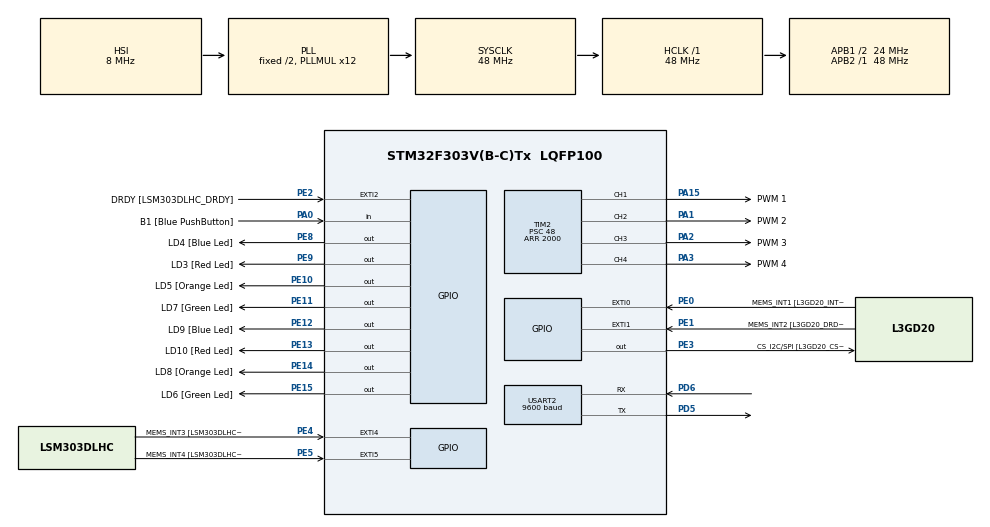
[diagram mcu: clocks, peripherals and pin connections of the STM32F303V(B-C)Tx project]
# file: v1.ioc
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Mcu.Family=STM32F3
Mcu.Name=STM32F303V(B-C)Tx
Mcu.Package=LQFP100
NVIC.PriorityGroup=NVIC_PRIORITYGROUP_0
NVIC.USART2_IRQn=true\:0\:0\:false
PA0.GPIO_Label=B1 [Blue PushButton]
PA0.GPIO_Mode=GPIO_MODE_INPUT
PA0.GPIO_PuPd=GPIO_PULLDOWN
PA0.Signal=GPIO_Input
PA1.GPIO_Label=PWM 2
PA1.GPIO_ModeDefaultPP=GPIO_MODE_AF_PP
PA1.GPIO_PuPd=GPIO_NOPULL
PA1.GPIO_Speed=GPIO_SPEED_HIGH
PA1.Signal=S_TIM2_CH2
PA11.GPIO_Label=DM
PA11.GPIO_Mode=GPIO_MODE_AF_PP
PA11.GPIO_PuPd=GPIO_NOPULL
PA11.GPIO_Speed=GPIO_SPEED_HIGH
PA11.Signal=USB_DM
PA12.GPIO_Label=DP
PA12.GPIO_Mode=GPIO_MODE_AF_PP
PA12.GPIO_PuPd=GPIO_NOPULL
PA12.GPIO_Speed=GPIO_SPEED_HIGH
PA12.Signal=USB_DP
PA13.GPIO_Label=SWDIO
PA13.Mode=Trace-Asynchronous_SW
PA13.Signal=SYS_JTMS-SWDIO
PA14.GPIO_Label=SWCLK
PA14.Mode=Trace-Asynchronous_SW
PA14.Signal=SYS_JTCK-SWCLK
PA15.GPIO_Label=PWM 1
PA15.GPIO_ModeDefaultPP=GPIO_MODE_AF_PP
PA15.GPIO_PuPd=GPIO_NOPULL
PA15.GPIO_Speed=GPIO_SPEED_HIGH
PA15.Signal=S_TIM2_CH1_ETR
PA2.GPIO_Label=PWM 3
PA2.GPIO_ModeDefaultPP=GPIO_MODE_AF_PP
PA2.GPIO_PuPd=GPIO_NOPULL
PA2.GPIO_Speed=GPIO_SPEED_HIGH
PA2.Signal=S_TIM2_CH3
PA3.GPIO_Label=PWM 4
PA3.GPIO_ModeDefaultPP=GPIO_MODE_AF_PP
PA3.GPIO_PuPd=GPIO_NOPULL
PA3.GPIO_Speed=GPIO_SPEED_HIGH
PA3.Signal=S_TIM2_CH4
PA5.GPIO_Label=SPI1_SCK [L3GD20_SCL/SPC]
PA5.GPIO_Mode=GPIO_MODE_AF_PP
PA5.GPIO_PuPd=GPIO_NOPULL
PA5.GPIO_Speed=GPIO_SPEED_LOW
PA5.Signal=SPI1_SCK
PA6.GPIO_Label=SPI1_MISO [L3GD20_SA0/SDO]
PA6.GPIO_Mode=GPIO_MODE_AF_PP
PA6.GPIO_PuPd=GPIO_NOPULL
PA6.GPIO_Speed=GPIO_SPEED_LOW
PA6.Signal=SPI1_MISO
PA7.GPIO_Label=SPI1_MISO [L3GD20_SDA/SDI/SDO]
PA7.GPIO_Mode=GPIO_MODE_AF_PP
PA7.GPIO_PuPd=GPIO_NOPULL
PA7.GPIO_Speed=GPIO_SPEED_LOW
PA7.Signal=SPI1_MOSI
PB3.GPIO_Label=SWO
PB3.Mode=Trace-Asynchronous_SW
PB3.Signal=SYS_JTDO-TRACESWO
PB6.GPIO_FM6=__NULL
PB6.GPIO_Label=I2C1_SCL [LSM303DLHC_SCL]
PB6.GPIO_Mode=GPIO_MODE_AF_OD
PB6.GPIO_PuPd=GPIO_NOPULL
PB6.GPIO_PuPdOD=GPIO_PULLUP
PB6.GPIO_Speed=GPIO_SPEED_LOW
PB6.Signal=I2C1_SCL
PB7.GPIO_FM7=__NULL
PB7.GPIO_Label=I2C1_SDA [LSM303DLHC_SDA]
PB7.GPIO_Mode=GPIO_MODE_AF_OD
PB7.GPIO_PuPd=GPIO_NOPULL
PB7.GPIO_PuPdOD=GPIO_PULLUP
PB7.GPIO_Speed=GPIO_SPEED_LOW
PB7.Signal=I2C1_SDA
PC14-OSC32_IN.GPIO_Label=OSC32_IN
PC14-OSC32_IN.Signal=RCC_OSC32_IN
PC15-OSC32_OUT.GPIO_Label=OSC32_OUT
PC15-OSC32_OUT.Signal=RCC_OSC32_OUT
PD5.Mode=Asynchronous
PD5.Signal=USART2_TX
PD6.Mode=Asynchronous
PD6.Signal=USART2_RX
PE0.GPIO_Label=MEMS_INT1 [L3GD20_INT1]
PE0.GPIO_ModeDefaultEXTI=GPIO_MODE_EVT_RISING
PE0.GPIO_PuPd=GPIO_NOPULL
PE0.Signal=GPXTI0
PE1.GPIO_Label=MEMS_INT2 [L3GD20_DRDY/INT2]
PE1.GPIO_ModeDefaultEXTI=GPIO_MODE_EVT_RISING
PE1.GPIO_PuPd=GPIO_NOPULL
PE1.Signal=GPXTI1
PE10.GPIO_Label=LD5 [Orange Led]
PE10.GPIO_ModeDefaultOutputPP=GPIO_MODE_OUTPUT_PP
PE10.GPIO_PuPd=GPIO_NOPULL
PE10.GPIO_Speed=GPIO_SPEED_LOW
PE10.Signal=GPIO_Output
PE11.GPIO_Label=LD7 [Green Led]
PE11.GPIO_ModeDefaultOutputPP=GPIO_MODE_OUTPUT_PP
PE11.GPIO_PuPd=GPIO_NOPULL
PE11.GPIO_Speed=GPIO_SPEED_LOW
PE11.Signal=GPIO_Output
PE12.GPIO_Label=LD9 [Blue Led]
PE12.GPIO_ModeDefaultOutputPP=GPIO_MODE_OUTPUT_PP
PE12.GPIO_PuPd=GPIO_NOPULL
PE12.GPIO_Speed=GPIO_SPEED_LOW
PE12.Signal=GPIO_Output
PE13.GPIO_Label=LD10 [Red Led]
PE13.GPIO_ModeDefaultOutputPP=GPIO_MODE_OUTPUT_PP
PE13.GPIO_PuPd=GPIO_NOPULL
PE13.GPIO_Speed=GPIO_SPEED_LOW
PE13.Signal=GPIO_Output
PE14.GPIO_Label=LD8 [Orange Led]
PE14.GPIO_ModeDefaultOutputPP=GPIO_MODE_OUTPUT_PP
PE14.GPIO_PuPd=GPIO_NOPULL
PE14.GPIO_Speed=GPIO_SPEED_LOW
PE14.Signal=GPIO_Output
PE15.GPIO_Label=LD6 [Green Led]
PE15.GPIO_ModeDefaultOutputPP=GPIO_MODE_OUTPUT_PP
PE15.GPIO_PuPd=GPIO_NOPULL
PE15.GPIO_Speed=GPIO_SPEED_LOW
PE15.Signal=GPIO_Output
PE2.GPIO_Label=DRDY [LSM303DLHC_DRDY]
PE2.GPIO_ModeDefaultEXTI=GPIO_MODE_EVT_RISING
PE2.GPIO_PuPd=GPIO_NOPULL
PE2.Signal=GPXTI2
PE3.GPIO_Label=CS_I2C/SPI [L3GD20_CS_I2C/SPI]
PE3.GPIO_ModeDefaultOutputPP=GPIO_MODE_OUTPUT_PP
PE3.GPIO_PuPd=GPIO_NOPULL
PE3.GPIO_Speed=GPIO_SPEED_LOW
PE3.Signal=GPIO_Output
PE4.GPIO_Label=MEMS_INT3 [LSM303DLHC_INT1]
PE4.GPIO_ModeDefaultEXTI=GPIO_MODE_EVT_RISING
PE4.GPIO_PuPd=GPIO_NOPULL
PE4.Signal=GPXTI4
PE5.GPIO_Label=MEMS_INT4 [LSM303DLHC_INT2]
PE5.GPIO_ModeDefaultEXTI=GPIO_MODE_EVT_RISING
PE5.GPIO_PuPd=GPIO_NOPULL
PE5.Signal=GPXTI5
PE8.GPIO_Label=LD4 [Blue Led]
PE8.GPIO_ModeDefaultOutputPP=GPIO_MODE_OUTPUT_PP
PE8.GPIO_PuPd=GPIO_NOPULL
PE8.GPIO_Speed=GPIO_SPEED_LOW
PE8.Signal=GPIO_Output
PE9.GPIO_Label=LD3 [Red Led]
PE9.GPIO_ModeDefaultOutputPP=GPIO_MODE_OUTPUT_PP
PE9.GPIO_PuPd=GPIO_NOPULL
PE9.GPIO_Speed=GPIO_SPEED_LOW
PE9.Signal=GPIO_Output
PF0-OSC_IN.GPIO_Label=OSC_IN
PF0-OSC_IN.Signal=RCC_OSC_IN
PF1-OSC_OUT.GPIO_Label=OSC_OUT
PF1-OSC_OUT.Signal=RCC_OSC_OUT
ProjectManager.TargetToolchain=MDK-ARM V5
RCC.AHBFreq_Value=48000000
RCC.APB1CLKDivider=RCC_HCLK_DIV2
RCC.APB1Freq_Value=24000000
RCC.APB1TimFreq_Value=48000000
RCC.APB2Freq_Value=48000000
RCC.APB2TimFreq_Value=48000000
RCC.CortexFreq_Value=48000000
RCC.HCLKFreq_Value=48000000
RCC.HSE_VALUE=8000000
RCC.HSI_VALUE=8000000
RCC.LSE_VALUE=32768
RCC.PLLMUL=RCC_PLL_MUL12
RCC.SYSCLKFreq_VALUE=48000000
RCC.SYSCLKSourceVirtual=RCC_SYSCLKSOURCE_PLLCLK
RCC.USBFreq_Value=48000000
SH.S_TIM2_CH1_ETR.0=TIM2_CH1,PWM Generation1 CH1
SH.S_TIM2_CH2.0=TIM2_CH2,PWM Generation2 CH2
SH.S_TIM2_CH3.0=TIM2_CH3,PWM Generation3 CH3
SH.S_TIM2_CH4.0=TIM2_CH4,PWM Generation4 CH4
TIM2.Channel-PWM\ Generation2\ CH2=TIM_CHANNEL_2
TIM2.Channel-PWM\ Generation3\ CH3=TIM_CHANNEL_3
TIM2.Channel-PWM\ Generation4\ CH4=TIM_CHANNEL_4
TIM2.Period=2000
TIM2.Prescaler=48
TIM2.Pulse-PWM\ Generation1\ CH1=2000
TIM2.Pulse-PWM\ Generation2\ CH2=2000
TIM2.Pulse-PWM\ Generation3\ CH3=2000
TIM2.Pulse-PWM\ Generation4\ CH4=2000
USART2.BaudRate=9600
VP_TIM2_VS_ClockSourceINT.Mode=Internal
board=STM32F3DISCOVERY

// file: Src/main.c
/**
  ******************************************************************************
  * File Name          : main.c
  * Description        : Main program body
  ******************************************************************************
  *
  * COPYRIGHT(c) 2015 STMicroelectronics
  *
  * Redistribution and use in source and binary forms, with or without modification,
  * are permitted provided that the following conditions are met:
  *   1. Redistributions of source code must retain the above copyright notice,
  *      this list of conditions and the following disclaimer.
  *   2. Redistributions in binary form must reproduce the above copyright notice,
  *      this list of conditions and the following disclaimer in the documentation
  *      and/or other materials provided with the distribution.
  *   3. Neither the name of STMicroelectronics nor the names of its contributors
  *      may be used to endorse or promote products derived from this software
  *      without specific prior written permission.
  *
  * THIS SOFTWARE IS PROVIDED BY THE COPYRIGHT HOLDERS AND CONTRIBUTORS "AS IS"
  * AND ANY EXPRESS OR IMPLIED WARRANTIES, INCLUDING, BUT NOT LIMITED TO, THE
  * IMPLIED WARRANTIES OF MERCHANTABILITY AND FITNESS FOR A PARTICULAR PURPOSE ARE
  * DISCLAIMED. IN NO EVENT SHALL THE COPYRIGHT HOLDER OR CONTRIBUTORS BE LIABLE
  * FOR ANY DIRECT, INDIRECT, INCIDENTAL, SPECIAL, EXEMPLARY, OR CONSEQUENTIAL
  * DAMAGES (INCLUDING, BUT NOT LIMITED TO, PROCUREMENT OF SUBSTITUTE GOODS OR
  * SERVICES; LOSS OF USE, DATA, OR PROFITS; OR BUSINESS INTERRUPTION) HOWEVER
  * CAUSED AND ON ANY THEORY OF LIABILITY, WHETHER IN CONTRACT, STRICT LIABILITY,
  * OR TORT (INCLUDING NEGLIGENCE OR OTHERWISE) ARISING IN ANY WAY OUT OF THE USE
  * OF THIS SOFTWARE, EVEN IF ADVISED OF THE POSSIBILITY OF SUCH DAMAGE.
  *
  ******************************************************************************
  */
#include "stm32f3xx_hal.h"

/* USER CODE BEGIN Includes */
#include "stm32f3_discovery.h"
#include "stm32f3_discovery_accelerometer.h"
#include "stm32f3_discovery_gyroscope.h"

/* USER CODE END Includes */

TIM_HandleTypeDef htim2;

UART_HandleTypeDef huart2;

/* USER CODE BEGIN PV */
/* Private variables ---------------------------------------------------------*/
#define KEY_PRESSED     0x01
#define KEY_NOT_PRESSED 0x00
extern int flaga_silnik_konf;
extern int pwm;
extern int flaga_bluetooth_odbiera;
extern uint8_t buf_in_bluetooth[4];
/* USER CODE END PV */

void SystemClock_Config(void);
static void MX_GPIO_Init(void);
static void MX_TIM2_Init(void);
static void MX_USART2_UART_Init(void);

/* USER CODE BEGIN PFP */
/* Private function prototypes -----------------------------------------------*/
/* USER CODE END PFP */

int main(void)
{

  /* MCU Configuration----------------------------------------------------------*/

  /* Reset of all peripherals, Initializes the Flash interface and the Systick. */
  pwm=1000;
	HAL_Init();

  /* Configure the system clock */
  SystemClock_Config();

  /* Initialize all configured peripherals */
  MX_GPIO_Init();
  MX_TIM2_Init();
  MX_USART2_UART_Init();

  /* USER CODE BEGIN 2 */
			//inicjuje ledy i guzik
  BSP_LED_Init(LED4);
  BSP_LED_Init(LED3);
  BSP_LED_Init(LED5);
  BSP_LED_Init(LED7);
  BSP_LED_Init(LED9);
  BSP_LED_Init(LED10);
  BSP_LED_Init(LED8);
  BSP_LED_Init(LED6);
	  pwm=1000;

	HAL_Delay(200);
			//
	if(BSP_ACCELERO_Init() != HAL_OK)
  {
    /* Initialization Error */
    Error_Handler();
  }
	if(BSP_GYRO_Init() != HAL_OK)
  {
    /* Initialization Error */
    Error_Handler();
  }
	///inicjuje PMW na 4 kanalach (wlaczam silniki)
	HAL_TIM_PWM_Start(&htim2, TIM_CHANNEL_1);
	HAL_TIM_PWM_Start(&htim2, TIM_CHANNEL_2);
	HAL_TIM_PWM_Start(&htim2, TIM_CHANNEL_3);
	HAL_TIM_PWM_Start(&htim2, TIM_CHANNEL_4);
	if(HAL_UART_DeInit(&huart2) != HAL_OK)
  {
    Error_Handler();
  }
  if(HAL_UART_Init(&huart2) != HAL_OK)
  {
    Error_Handler();
  }
	  pwm=1000;

	//BSP_LED_Toggle(LED5);

			/* USER CODE END 2 */

  /* Infinite loop */
  /* USER CODE BEGIN WHILE */
	while (1)
	{
		if(BSP_PB_GetState(BUTTON_USER) == KEY_PRESSED)
		{
			while(BSP_PB_GetState(BUTTON_USER) == KEY_PRESSED)
			{}
			BSP_LED_Toggle(LED5);
			if(flaga_silnik_konf == 0)
			{
//				bluetooth_odbierz_4bity_int(&huart2);
//				silniki_wszystkie(pwm);
//				bluetooth_wyslij(&huart2, buf_in_bluetooth);

				if(bluetooth_nawiaz_polaczenie(&huart2)==1)
				{
					bluetooth_wyslij(&huart2,"Polaczono!\n");
					konfiguruj_silniki();
				}
				else
				{
				bluetooth_wyslij(&huart2,"Nie polaczono!\n");
				}
			}
			else if(flaga_silnik_konf != 0)
				{

					//testuj_obroty();
					//testuj_zyro();
				//testuj_bluetooth();
				}
		}
//
		if(flaga_silnik_konf!=0)
			{
				BSP_LED_Toggle(LED7);
					//HAL_Delay(10);
					//testuj_bluetooth();
					testuj_akcelerometr();
			//	sprintf(buff_temp, "%d", pwm);
			}
  /* USER CODE END WHILE */

}
}

/** System Clock Configuration
*/
void SystemClock_Config(void)
{

  RCC_OscInitTypeDef RCC_OscInitStruct;
  RCC_ClkInitTypeDef RCC_ClkInitStruct;
  RCC_PeriphCLKInitTypeDef PeriphClkInit;

  RCC_OscInitStruct.OscillatorType = RCC_OSCILLATORTYPE_HSI;
  RCC_OscInitStruct.HSIState = RCC_HSI_ON;
  RCC_OscInitStruct.HSICalibrationValue = 16;
  RCC_OscInitStruct.PLL.PLLState = RCC_PLL_ON;
  RCC_OscInitStruct.PLL.PLLSource = RCC_PLLSOURCE_HSI;
  RCC_OscInitStruct.PLL.PLLMUL = RCC_PLL_MUL12;
  HAL_RCC_OscConfig(&RCC_OscInitStruct);

  RCC_ClkInitStruct.ClockType = RCC_CLOCKTYPE_SYSCLK|RCC_CLOCKTYPE_PCLK1;
  RCC_ClkInitStruct.SYSCLKSource = RCC_SYSCLKSOURCE_PLLCLK;
  RCC_ClkInitStruct.AHBCLKDivider = RCC_SYSCLK_DIV1;
  RCC_ClkInitStruct.APB1CLKDivider = RCC_HCLK_DIV2;
  RCC_ClkInitStruct.APB2CLKDivider = RCC_HCLK_DIV1;
  HAL_RCC_ClockConfig(&RCC_ClkInitStruct, FLASH_LATENCY_1);

  PeriphClkInit.PeriphClockSelection = RCC_PERIPHCLK_USART2;
  PeriphClkInit.Usart2ClockSelection = RCC_USART2CLKSOURCE_PCLK1;
  HAL_RCCEx_PeriphCLKConfig(&PeriphClkInit);

  HAL_SYSTICK_Config(HAL_RCC_GetHCLKFreq()/1000);

  HAL_SYSTICK_CLKSourceConfig(SYSTICK_CLKSOURCE_HCLK);

}

/* TIM2 init function */
void MX_TIM2_Init(void)
{

  TIM_ClockConfigTypeDef sClockSourceConfig;
  TIM_MasterConfigTypeDef sMasterConfig;
  TIM_OC_InitTypeDef sConfigOC;

  htim2.Instance = TIM2;
  htim2.Init.Prescaler = 48;
  htim2.Init.CounterMode = TIM_COUNTERMODE_UP;
  htim2.Init.Period = 2000;
  htim2.Init.ClockDivision = TIM_CLOCKDIVISION_DIV1;
  HAL_TIM_Base_Init(&htim2);

  sClockSourceConfig.ClockSource = TIM_CLOCKSOURCE_INTERNAL;
  HAL_TIM_ConfigClockSource(&htim2, &sClockSourceConfig);

  HAL_TIM_PWM_Init(&htim2);

  sMasterConfig.MasterOutputTrigger = TIM_TRGO_RESET;
  sMasterConfig.MasterSlaveMode = TIM_MASTERSLAVEMODE_DISABLE;
  HAL_TIMEx_MasterConfigSynchronization(&htim2, &sMasterConfig);

  sConfigOC.OCMode = TIM_OCMODE_PWM1;
  sConfigOC.Pulse = 2000;
  sConfigOC.OCPolarity = TIM_OCPOLARITY_HIGH;
  sConfigOC.OCFastMode = TIM_OCFAST_DISABLE;
  HAL_TIM_PWM_ConfigChannel(&htim2, &sConfigOC, TIM_CHANNEL_1);

  HAL_TIM_PWM_ConfigChannel(&htim2, &sConfigOC, TIM_CHANNEL_2);

  HAL_TIM_PWM_ConfigChannel(&htim2, &sConfigOC, TIM_CHANNEL_3);

  HAL_TIM_PWM_ConfigChannel(&htim2, &sConfigOC, TIM_CHANNEL_4);

}

/* USART2 init function */
void MX_USART2_UART_Init(void)
{

  huart2.Instance = USART2;
  huart2.Init.BaudRate = 9600;
  huart2.Init.WordLength = UART_WORDLENGTH_8B;
  huart2.Init.StopBits = UART_STOPBITS_1;
  huart2.Init.Parity = UART_PARITY_NONE;
  huart2.Init.Mode = UART_MODE_TX_RX;
  huart2.Init.HwFlowCtl = UART_HWCONTROL_NONE;
  huart2.Init.OverSampling = UART_OVERSAMPLING_16;
  huart2.Init.OneBitSampling = UART_ONEBIT_SAMPLING_DISABLED ;
  huart2.AdvancedInit.AdvFeatureInit = UART_ADVFEATURE_NO_INIT;
  HAL_UART_Init(&huart2);

}

/** Configure pins as
        * Analog
        * Input
        * Output
        * EVENT_OUT
        * EXTI
     PA5   ------> SPI1_SCK
     PA6   ------> SPI1_MISO
     PA7   ------> SPI1_MOSI
     PA11   ------> USB_DM
     PA12   ------> USB_DP
     PB6   ------> I2C1_SCL
     PB7   ------> I2C1_SDA
*/
void MX_GPIO_Init(void)
{

  GPIO_InitTypeDef GPIO_InitStruct;

  /* GPIO Ports Clock Enable */
  __GPIOE_CLK_ENABLE();
  __GPIOC_CLK_ENABLE();
  __GPIOF_CLK_ENABLE();
  __GPIOA_CLK_ENABLE();
  __GPIOD_CLK_ENABLE();
  __GPIOB_CLK_ENABLE();

  /*Configure GPIO pins : PE2 PE4 PE5 PE0
                           PE1 */
  GPIO_InitStruct.Pin = GPIO_PIN_2|GPIO_PIN_4|GPIO_PIN_5|GPIO_PIN_0
                          |GPIO_PIN_1;
  GPIO_InitStruct.Mode = GPIO_MODE_EVT_RISING;
  GPIO_InitStruct.Pull = GPIO_NOPULL;
  HAL_GPIO_Init(GPIOE, &GPIO_InitStruct);

  /*Configure GPIO pins : PE3 PE8 PE9 PE10
                           PE11 PE12 PE13 PE14
                           PE15 */
  GPIO_InitStruct.Pin = GPIO_PIN_3|GPIO_PIN_8|GPIO_PIN_9|GPIO_PIN_10
                          |GPIO_PIN_11|GPIO_PIN_12|GPIO_PIN_13|GPIO_PIN_14
                          |GPIO_PIN_15;
  GPIO_InitStruct.Mode = GPIO_MODE_OUTPUT_PP;
  GPIO_InitStruct.Pull = GPIO_NOPULL;
  GPIO_InitStruct.Speed = GPIO_SPEED_LOW;
  HAL_GPIO_Init(GPIOE, &GPIO_InitStruct);

  /*Configure GPIO pin : PA0 */
  GPIO_InitStruct.Pin = GPIO_PIN_0;
  GPIO_InitStruct.Mode = GPIO_MODE_INPUT;
  GPIO_InitStruct.Pull = GPIO_PULLDOWN;
  HAL_GPIO_Init(GPIOA, &GPIO_InitStruct);

  /*Configure GPIO pins : PA5 PA6 PA7 */
  GPIO_InitStruct.Pin = GPIO_PIN_5|GPIO_PIN_6|GPIO_PIN_7;
  GPIO_InitStruct.Mode = GPIO_MODE_AF_PP;
  GPIO_InitStruct.Pull = GPIO_NOPULL;
  GPIO_InitStruct.Speed = GPIO_SPEED_LOW;
  GPIO_InitStruct.Alternate = GPIO_AF5_SPI1;
  HAL_GPIO_Init(GPIOA, &GPIO_InitStruct);

  /*Configure GPIO pins : PA11 PA12 */
  GPIO_InitStruct.Pin = GPIO_PIN_11|GPIO_PIN_12;
  GPIO_InitStruct.Mode = GPIO_MODE_AF_PP;
  GPIO_InitStruct.Pull = GPIO_NOPULL;
  GPIO_InitStruct.Speed = GPIO_SPEED_HIGH;
  GPIO_InitStruct.Alternate = GPIO_AF14_USB;
  HAL_GPIO_Init(GPIOA, &GPIO_InitStruct);

  /*Configure GPIO pins : PB6 PB7 */
  GPIO_InitStruct.Pin = GPIO_PIN_6|GPIO_PIN_7;
  GPIO_InitStruct.Mode = GPIO_MODE_AF_OD;
  GPIO_InitStruct.Pull = GPIO_PULLUP;
  GPIO_InitStruct.Speed = GPIO_SPEED_LOW;
  GPIO_InitStruct.Alternate = GPIO_AF4_I2C1;
  HAL_GPIO_Init(GPIOB, &GPIO_InitStruct);

}

/************************ (C) COPYRIGHT STMicroelectronics *****END OF FILE****/
